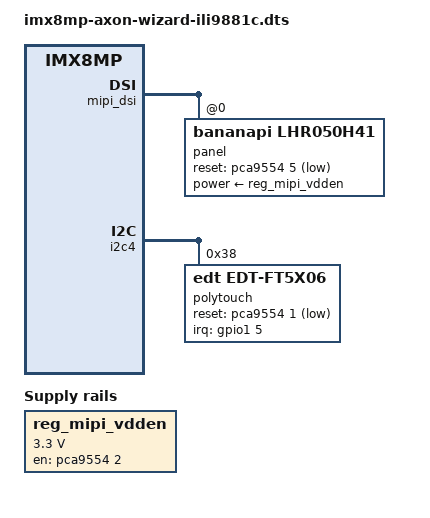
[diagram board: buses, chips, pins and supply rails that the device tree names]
// SPDX-License-Identifier: (GPL-2.0+ OR MIT)
/*
 * Copyright 2020 Technexion Ltd.
 *
 * Author: Richard Hu <richard.hu@technexion.com>
 *
 */

#include "imx8mp-axon-wizard.dts"

/ {
	reg_mipi_pwr: regulator_mipipwr {
		regulator-always-on;
		status = "okay";
	};

	reg_mipi_vdden: regulator_mipivdden {
		pinctrl-names = "default";
		compatible = "regulator-fixed";
		regulator-name = "mipi_vdden";
		regulator-min-microvolt = <3300000>;
		regulator-max-microvolt = <3300000>;
		gpio = <&pca9554 2 GPIO_ACTIVE_HIGH>;
		enable-active-high;
	};

	mipi_backlight: mipi_backlight {
		status = "okay";
	};
};

&mipi_dsi {
	status = "okay";
	panel@0 {
		compatible = "bananapi,lhr050h41", "ilitek,ili9881c";
		power-supply = <&reg_mipi_vdden>;
		reset-gpio = <&pca9554 5 GPIO_ACTIVE_LOW>;
		reg = <0>; 
		timing-mode = <0>;
		video-mode = <2>;
		/*
		0: burst mode
		1: non-burst mode with sync event
		2: non-burst mode with sync pulse
		*/
		status = "okay";
	};	
};

&i2c4 {
	polytouch: edt-ft5x06@38 {
		compatible = "edt,edt-ft5x06";
		pinctrl-names = "default";
		pinctrl-0 = <&pinctrl_ft5336_touch_irq>;
		reg = <0x38>;
		interrupt-parent = <&gpio1>;
		interrupts = <5 IRQ_TYPE_EDGE_FALLING>;
		reset-gpios = <&pca9554 1 GPIO_ACTIVE_LOW>;
		touchscreen-size-x = <720>;
		touchscreen-size-y = <1280>;
		status="okay";
	};
};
